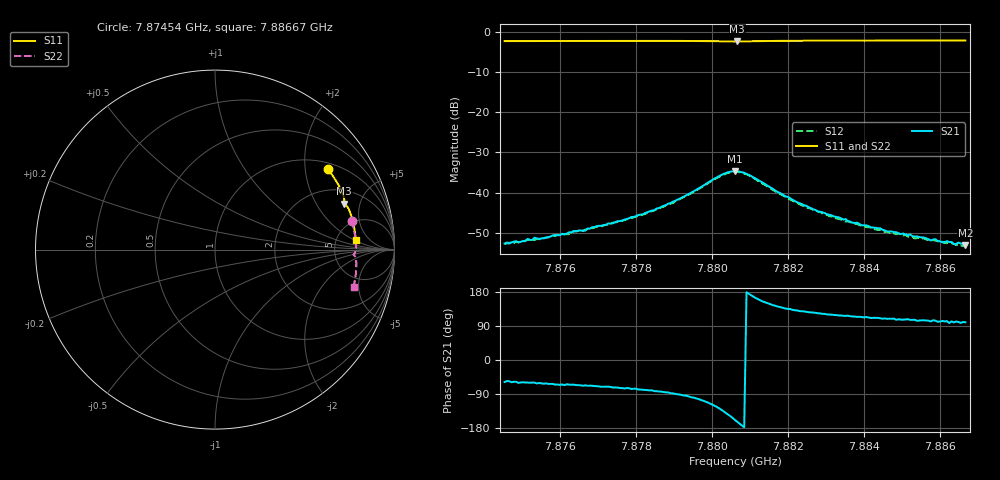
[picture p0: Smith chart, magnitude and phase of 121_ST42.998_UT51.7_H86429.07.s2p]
#  HZ  S  DB  R  50.00
! Rohde & Schwarz Vector Network Analyzer
! Rohde-Schwarz,ZNB20-2Port,1311601062101988,3.16
! Created: UTC 1/12/2023, 6:38:15 PM
! freq[Hz]  db:S11  ang:S11  db:S21  ang:S21  db:S12  ang:S12  db:S22  ang:S22
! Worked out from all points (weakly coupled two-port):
!   201 points, 7.87454 GHz to 7.88667 GHz, reference 50 ohm
!   highest |S21| = -34.66 dB at 7.88061 GHz (marker M1); lowest = -53.1 dB at 7.88667 GHz (marker M2)
!   lowest |S11| = -2.3 dB at 7.88067 GHz (marker M3), VSWR 7.47, Z = 145 + j178 ohm
!   |S11| at or under -10 dB: nowhere
!   |S22| runs from -2.2 to -1.9 dB; largest |S21 - S12| = 0.0013
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7.87454e9  -2.24 35.7  -52.73 -58.0  -52.89 -60.2  -2.18 11.7
7.8746e9  -2.25 35.5  -52.66 -55.6  -52.42 -59.7  -2.18 11.5
7.876602e9  -2.21 30.0  -49.52 -68.3  -49.57 -70.5  -2.13 6.8
7.877815e9  -2.20 26.7  -46.42 -74.5  -46.66 -78.4  -2.10 3.9
7.878603e9  -2.20 24.5  -43.88 -83.1  -43.97 -87.0  -2.09 2.1
7.879331e9  -2.21 22.4  -40.63 -94.4  -40.84 -98.4  -2.10 0.3
7.880302e9  -2.32 20.0  -35.35 -135.2  -35.58 -138.6  -2.20 -1.9
7.880605e9  -2.34 19.6  -34.66 -158.4  -34.84 -161.7  -2.23 -2.0
7.880666e9  -2.34 19.6  -34.70 -162.9  -34.86 -166.4  -2.24 -2.2
7.880969e9  -2.30 19.2  -35.59 174.7  -35.74 171.2  -2.21 -2.3
7.882e9  -2.17 16.5  -41.10 134.7  -41.51 131.6  -2.06 -4.5
7.882667e9  -2.15 14.7  -44.18 125.3  -44.34 122.0  -2.03 -6.1
7.883698e9  -2.12 11.9  -47.52 114.8  -47.69 111.9  -2.00 -8.4
7.884669e9  -2.11 9.3  -49.73 108.9  -50.07 105.8  -1.97 -10.6
7.885215e9  -2.10 7.9  -50.45 105.8  -50.93 103.0  -1.97 -11.8
7.885761e9  -2.10 6.5  -51.95 101.6  -51.89 100.4  -1.96 -13.0
7.885882e9  -2.10 6.1  -51.63 103.6  -51.98 99.5  -1.95 -13.2
7.886064e9  -2.09 5.7  -52.41 103.1  -52.25 100.5  -1.95 -13.6
7.886185e9  -2.09 5.3  -52.13 102.5  -52.58 98.6  -1.96 -13.9
7.886367e9  -2.09 4.9  -52.86 99.2  -52.82 97.3  -1.95 -14.3
7.886488e9  -2.09 4.6  -52.48 100.2  -52.90 95.9  -1.95 -14.5
7.88667e9  -2.09 4.1  -53.05 99.6  -53.26 94.4  -1.95 -15.0
